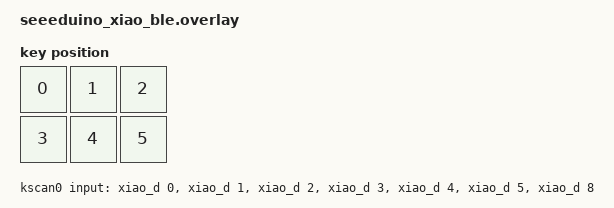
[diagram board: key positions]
#include <dt-bindings/zmk/matrix_transform.h>
#include <physical_layouts.dtsi> // 🟢 ZMK Studio用の座標データを扱うための辞書を追加

/ {
    chosen {
        zmk,kscan = &kscan0;
        zmk,physical-layout = &default_layout;
    };

    // 🔌 ボタンとスイッチの物理ピン配置定義
    kscan0: kscan {
        compatible = "zmk,kscan-gpio-direct";
        wakeup-source;

        input-gpios
            = <&xiao_d 0 (GPIO_ACTIVE_LOW | GPIO_PULL_UP)> // ボタン1 (D0)
            , <&xiao_d 1 (GPIO_ACTIVE_LOW | GPIO_PULL_UP)> // ボタン2 (D1)
            , <&xiao_d 2 (GPIO_ACTIVE_LOW | GPIO_PULL_UP)> // ボタン3 (D2)
            , <&xiao_d 3 (GPIO_ACTIVE_LOW | GPIO_PULL_UP)> // ボタン4 (D3)
            , <&xiao_d 4 (GPIO_ACTIVE_LOW | GPIO_PULL_UP)> // ボタン5 (D4)
            , <&xiao_d 5 (GPIO_ACTIVE_LOW | GPIO_PULL_UP)> // ボタン6 (D5)
            , <&xiao_d 8 (GPIO_ACTIVE_LOW | GPIO_PULL_UP)> // 🛑 省エネスイッチ (D8)
            ;
    };

    // ボタンの配線上の並び順マップ
    default_transform: matrix_transform {
        compatible = "zmk,matrix-transform";
        columns = <7>;
        rows = <1>;
        map = <
            RC(0,0) RC(0,1) RC(0,2) RC(0,3) RC(0,4) RC(0,5) RC(0,6)
        >;
    };

// 🟢 ZMK Studio用のレイアウト
    default_layout: layout_0 {
        compatible = "zmk,physical-layout";
        display-name = "Default Layout";
        kscan = <&kscan0>;
        transform = <&default_transform>;
        
        keys
            = <&key_physical_attrs 100 100 0 0 0 0 0>       // D0: 左上
            , <&key_physical_attrs 100 100 100 0 0 0 0>     // D1: 中上
            , <&key_physical_attrs 100 100 200 0 0 0 0>     // D2: 右上
            , <&key_physical_attrs 100 100 0 100 0 0 0>     // D3: 左下
            , <&key_physical_attrs 100 100 100 100 0 0 0>   // D4: 中下
            , <&key_physical_attrs 100 100 200 100 0 0 0>   // D5: 右下
            // 🛑 ここにあったD8の行を完全に削除！
            ;
    };
};
